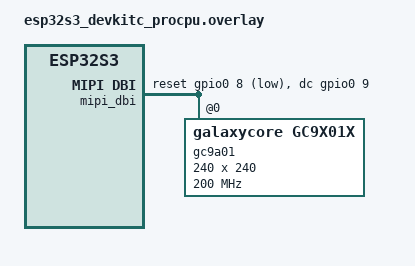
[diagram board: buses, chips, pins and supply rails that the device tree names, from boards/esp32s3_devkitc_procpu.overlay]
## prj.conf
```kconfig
CONFIG_LV_Z_MEM_POOL_SIZE=16384
CONFIG_MAIN_STACK_SIZE=4096

CONFIG_DISPLAY=y
CONFIG_DISPLAY_LOG_LEVEL_ERR=y

CONFIG_LOG=y

CONFIG_LVGL=y
CONFIG_LV_USE_LOG=y
CONFIG_LV_USE_LABEL=y
CONFIG_LV_USE_ARC=y
CONFIG_LV_USE_MONKEY=y
CONFIG_LV_FONT_MONTSERRAT_14=y

CONFIG_LV_FONT_MONTSERRAT_14=y
```

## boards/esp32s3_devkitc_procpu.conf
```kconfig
CONFIG_ESPTOOLPY_FLASHSIZE_16MB=y
CONFIG_ESPTOOLPY_FLASHMODE_QIO=y
CONFIG_ESPTOOLPY_HEADER_FLASHSIZE_UPDATE=y
CONFIG_LOG=y
CONFIG_ESP_SPIRAM=y
CONFIG_ESP_SPIRAM_MEMTEST=y
# CONFIG_SHARED_MULTI_HEAP=y
CONFIG_SPIRAM_MODE_OCT=y
CONFIG_SPIRAM_SPEED_80M=y
CONFIG_ESP32S3_DATA_CACHE_64KB=y
```

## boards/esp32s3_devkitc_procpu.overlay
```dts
#include <zephyr/dt-bindings/display/panel.h>

/ {
  chosen {
    zephyr,display = &gc9a01;
  };

	mipi_dbi {
		compatible = "zephyr,mipi-dbi-spi";
		spi-dev = <&spi2>;
		dc-gpios = <&gpio0 9 GPIO_ACTIVE_HIGH>;
		reset-gpios = <&gpio0 8 GPIO_ACTIVE_LOW>;
		write-only;
		#address-cells = <1>;
		#size-cells = <0>;

		gc9a01: gc9a01@0 {
			status = "okay";
			compatible = "galaxycore,gc9x01x";
			reg = <0>;
			mipi-max-frequency = <200000000>;
			pixel-format = <PANEL_PIXEL_FORMAT_RGB_565>;
			display-inversion;
			width = <240>;
			height = <240>;
		};
	};
};

&spi2 {
  dma-enabled;
};

&flash0 {
	reg = <0x0 DT_SIZE_M(16)>;
};

&psram0 {
	size = <DT_SIZE_M(8)>;
};
```

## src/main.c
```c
#include <lvgl.h>
#include <stdio.h>
#include <string.h>
#include <zephyr/device.h>
#include <zephyr/devicetree.h>
#include <zephyr/drivers/display.h>
#include <zephyr/drivers/gpio.h>
#include <zephyr/kernel.h>
#include <zephyr/logging/log.h>

#define LOG_LEVEL CONFIG_LOG_DEFAULT_LEVEL
LOG_MODULE_REGISTER(app);

int main(void) {
  const struct device *display_dev;
  lv_obj_t *hello_world_label;
  lv_obj_t *count_label;

  display_dev = DEVICE_DT_GET(DT_CHOSEN(zephyr_display));
  if (!device_is_ready(display_dev)) {
    LOG_ERR("Device not ready, aborting test");
    return 0;
  }

  hello_world_label = lv_label_create(lv_screen_active());

  lv_label_set_text(hello_world_label, "Hello world!");
  lv_obj_align(hello_world_label, LV_ALIGN_CENTER, 0, 0);

  count_label = lv_label_create(lv_screen_active());
  lv_obj_align(count_label, LV_ALIGN_BOTTOM_MID, 0, 0);

  lv_timer_handler();
  display_blanking_off(display_dev);

  while (1) {
    lv_timer_handler();
    k_sleep(K_MSEC(10));
  }
}
```
